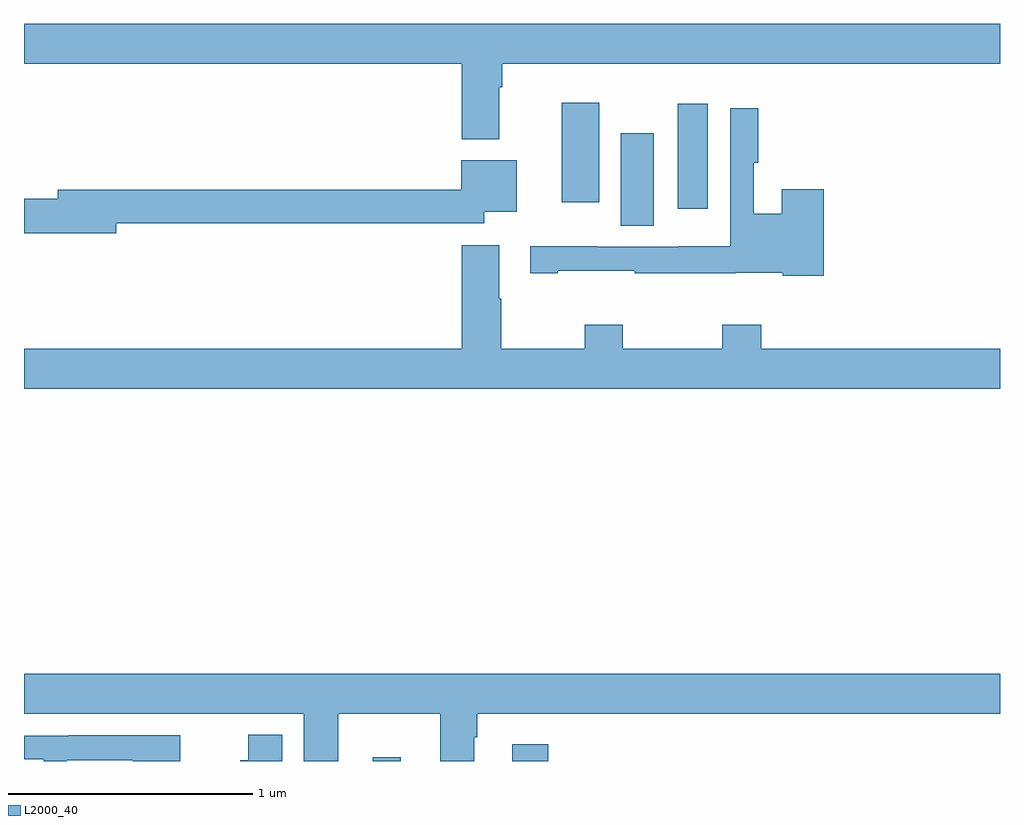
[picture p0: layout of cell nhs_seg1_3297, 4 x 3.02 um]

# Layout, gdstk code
import gdstk
lib = gdstk.Library(unit=1e-6, precision=1e-09)
def R(c, l, rs):  # rectangles x0, y0, x1, y1
    for r in rs: c.add(gdstk.rectangle(r[:2], r[2:], *l))
def P(c, l, *ps):  # polygons
    for p in ps: c.add(gdstk.Polygon(p, *l))
L2000_40 = (2000, 40)

nhs_seg1_3297 = lib.new_cell('nhs_seg1_3297')
R(nhs_seg1_3297, L2000_40, [(290.429,558.199,290.545,558.214), (291.002,558.199,291.149,558.268), (291.446,560.392,291.58,560.773), (291.68,560.463,291.802,560.893), (291.203,560.49,291.358,560.896)])
P(nhs_seg1_3297, L2000_40, [(290.947,560.96),(290.96,560.96),(290.96,561.056),(293,561.056),(293,561.22),(289,561.22),(289,561.056),(290.795,561.056),(290.795,560.747),(290.947,560.747)],
  [(292.277,560.542),(292.106,560.542),(292.106,560.443),(291.99,560.443),(291.99,560.651),(292.01,560.651),(292.01,560.875),(291.894,560.875),(291.894,560.308),(291.684,560.308),(291.684,560.307),(291.35,560.307),(291.35,560.309),(291.075,560.309),(291.075,560.199),(291.187,560.199),(291.187,560.209),(291.503,560.209),(291.503,560.199),(291.918,560.199),(291.918,560.201),(292.11,560.201),(292.11,560.189),(292.277,560.189)],
  [(289.378,560.404),(290.886,560.404),(290.886,560.45),(291.019,560.45),(291.019,560.662),(290.792,560.662),(290.792,560.54),(289.139,560.54),(289.139,560.504),(289,560.504),(289,560.362),(289.378,560.362)],
  [(293,559.888),(292.022,559.888),(292.022,559.987),(291.862,559.987),(291.862,559.888),(291.453,559.888),(291.453,559.987),(291.298,559.987),(291.298,559.888),(290.955,559.888),(290.955,560.093),(290.947,560.093),(290.947,560.314),(290.795,560.314),(290.795,559.888),(289,559.888),(289,559.724),(293,559.724)],
  [(290.287,558.392),(290.705,558.392),(290.705,558.199),(290.845,558.199),(290.845,558.296),(290.858,558.296),(290.858,558.392),(293,558.392),(293,558.556),(289,558.556),(289,558.392),(290.147,558.392),(290.147,558.199),(290.287,558.199)],
  [(290.059,558.307),(289.919,558.307),(289.919,558.202),(289.886,558.202),(289.886,558.199),(290.059,558.199)],
  [(289.176,558.203),(289.445,558.203),(289.445,558.199),(289.641,558.199),(289.641,558.304),(289.183,558.304),(289.183,558.303),(289,558.303),(289,558.207),(289.08,558.207),(289.08,558.199),(289.176,558.199)])

lib.write_gds('nhs_seg1_3297.gds')
